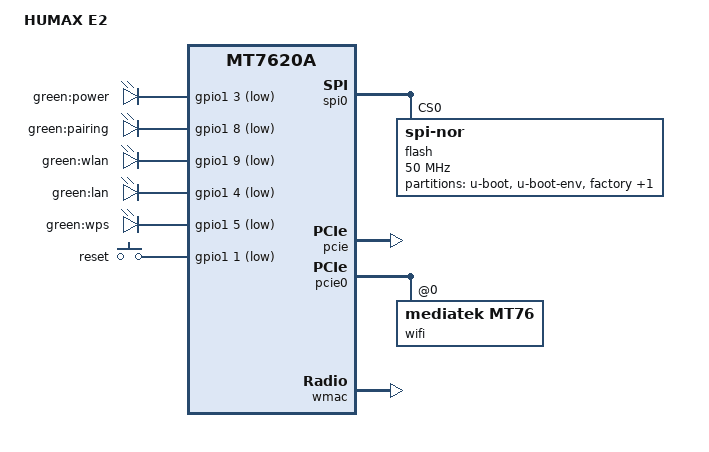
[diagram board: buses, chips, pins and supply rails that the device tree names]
// SPDX-License-Identifier: GPL-2.0-or-later OR MIT

#include "mt7620a.dtsi"

#include <dt-bindings/gpio/gpio.h>
#include <dt-bindings/input/input.h>
#include <dt-bindings/mtd/partitions/uimage.h>

/ {
	compatible = "humax,e2", "ralink,mt7620a-soc";
	model = "HUMAX E2";

	aliases {
		led-boot = &led_power;
		led-failsafe = &led_power;
		led-running = &led_power;
		led-upgrade = &led_power;
		label-mac-device = &ethernet;
	};

	leds {
		compatible = "gpio-leds";

		led_power: power {
			label = "green:power";
			gpios = <&gpio1 3 GPIO_ACTIVE_LOW>;
		};

		pairing {
			label = "green:pairing";
			gpios = <&gpio1 8 GPIO_ACTIVE_LOW>;
		};

		wlan {
			label = "green:wlan";
			gpios = <&gpio1 9 GPIO_ACTIVE_LOW>;
		};

		lan {
			label = "green:lan";
			gpios = <&gpio1 4 GPIO_ACTIVE_LOW>;
		};

		wps {
			label = "green:wps";
			gpios = <&gpio1 5 GPIO_ACTIVE_LOW>;
		};
	};

	keys {
		compatible = "gpio-keys";

		reset {
			label = "reset";
			gpios = <&gpio1 1 GPIO_ACTIVE_LOW>;
			linux,code = <KEY_RESTART>;
		};
	};
};

&gpio1 {
	status = "okay";
};

&spi0 {
	status = "okay";

	flash@0 {
		compatible = "jedec,spi-nor";
		reg = <0>;
		spi-max-frequency = <50000000>;

		partitions {
			compatible = "fixed-partitions";
			#address-cells = <1>;
			#size-cells = <1>;

			partition@0 {
				label = "u-boot";
				reg = <0x0 0x30000>;
				read-only;
			};

			partition@30000 {
				label = "u-boot-env";
				reg = <0x30000 0x10000>;
				read-only;
			};

			factory: partition@40000 {
				label = "factory";
				reg = <0x40000 0x30000>;
				read-only;

				compatible = "nvmem-cells";
				#address-cells = <1>;
				#size-cells = <1>;

				macaddr_factory_10007: macaddr@10007 {
					reg = <0x10007 0x6>;
				};
			};

			partition@70000 {
				compatible = "openwrt,uimage", "denx,uimage";
				openwrt,offset = <FW_EDIMAX_OFFSET>;
				openwrt,partition-magic = <FW_MAGIC_EDIMAX>;
				label = "firmware";
				reg = <0x70000 0x790000>;
			};
		};
	};
};

&ethernet {
	nvmem-cells = <&macaddr_factory_10007>;
	nvmem-cell-names = "mac-address";
};

&pcie {
	status = "okay";
};

&pcie0 {
	wifi@0,0 {
		compatible = "mediatek,mt76";
		reg = <0x0000 0 0 0 0>;
		mediatek,mtd-eeprom = <&factory 0x8000>;
		ieee80211-freq-limit = <5000000 6000000>;
	};
};

&wmac {
	ralink,mtd-eeprom = <&factory 0x0>;
};

&state_default {
	gpio {
		groups = "rgmii1";
		function = "gpio";
	};
};
